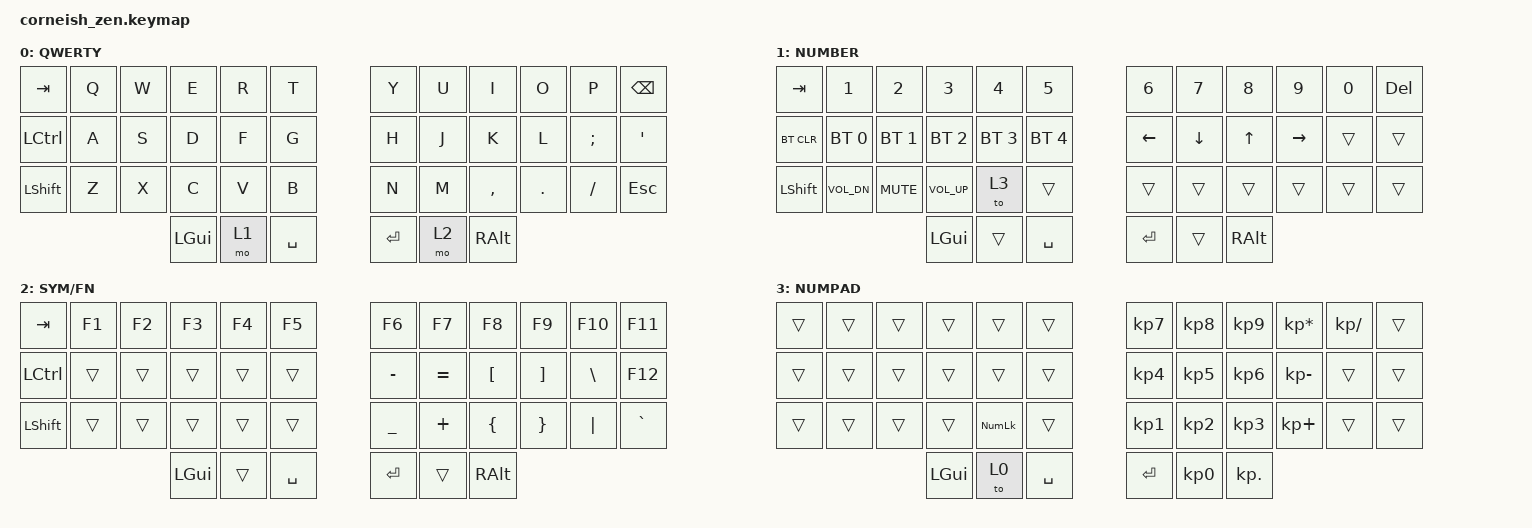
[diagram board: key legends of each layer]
/*
*
* Copyright (c) 2021 Darryl deHaan
* SPDX-License-Identifier: MIT
*
*/

#include <behaviors.dtsi>
#include <dt-bindings/zmk/keys.h>
#include <dt-bindings/zmk/bt.h>

/ {
    chosen {
        zmk,physical-layout = &foostan_corne_6col_layout;
        // zmk,physical-layout = &foostan_corne_5col_layout;
    };
};

/ {
    keymap {
        compatible = "zmk,keymap";

        default_layer {
            display-name = "QWERTY";
// --------------------------------------------------------------------------------
// |  TAB |  Q  |  W  |  E  |  R  |  T  |   |  Y  |  U   |  I  |  O  |  P  | BSPC |
// | CTRL |  A  |  S  |  D  |  F  |  G  |   |  H  |  J   |  K  |  L  |  ;  |  '   |
// | SHFT |  Z  |  X  |  C  |  V  |  B  |   |  N  |  M   |  ,  |  .  |  /  | ESC  |
//                    | GUI | LWR | SPC |   | ENT | RSE  | ALT |
            bindings = <
&kp TAB   &kp Q &kp W &kp E &kp R &kp T   &kp Y &kp U  &kp I     &kp O   &kp P    &kp BSPC
&kp LCTRL &kp A &kp S &kp D &kp F &kp G   &kp H &kp J  &kp K     &kp L   &kp SEMI &kp SQT
&kp LSHFT &kp Z &kp X &kp C &kp V &kp B   &kp N &kp M  &kp COMMA &kp DOT &kp FSLH &kp ESC
               &kp LGUI &mo 1 &kp SPACE   &kp RET &mo 2 &kp RALT
            >;
        };

        lower_layer {
            display-name = "NUMBER";
// -----------------------------------------------------------------------------------------
// |  TAB |  1    |  2    |  3    |  4    |  5    |   |  6  |  7  |  8  |  9  |  0  | DEL  |
// | BTCLR| BT1   | BT2   | BT3   | BT4   | BT5   |   | LFT | DWN |  UP | RGT |     |      |
// | SHFT | VOLDN | VOLMT | VOLUP | TO(3) |       |   |     |     |     |     |     |      |
//                        | GUI   |       | SPC   |   | ENT |     | ALT |
            bindings = <
&kp TAB    &kp N1       &kp N2       &kp N3       &kp N4       &kp N5         &kp N6   &kp N7   &kp N8 &kp N9    &kp N0 &kp DEL
&bt BT_CLR &bt BT_SEL 0 &bt BT_SEL 1 &bt BT_SEL 2 &bt BT_SEL 3 &bt BT_SEL 4   &kp LEFT &kp DOWN &kp UP &kp RIGHT &trans &trans
&kp LSHFT  &kp C_VOL_DN &kp C_MUTE   &kp C_VOL_UP &to 3        &trans          &trans   &trans   &trans &trans    &trans &trans
                                     &kp LGUI     &trans       &kp SPACE      &kp RET  &trans   &kp RALT
            >;
        };

        raise_layer {
            display-name = "SYM/FN";
// -----------------------------------------------------------------------------------------
// |  TAB |  F1  |  F2  |  F3  |  F4  |  F5  |    |  F6  |  F7  |  F8  |  F9  |  F10 | F11   |
// | CTRL |      |      |      |      |      |    |   -  |  =   |   [  |  ]   |  \   |  F12  |
// | SHFT |      |      |      |      |      |    |  _   |  +   |  {   |  }   | "|"  |  `    |
//                      | GUI  |      | SPC  |    | ENT  |      | ALT  |
            bindings = <
&kp  TAB  &kp F1 &kp F2 &kp F3 &kp F4 &kp F5   &kp F6 &kp F7  &kp F8 &kp F9 &kp F10 &kp F11
&kp LCTRL &trans   &trans &trans   &trans   &trans      &kp MINUS &kp EQUAL &kp LBKT  &kp RBKT &kp BSLH &kp F12
&kp LSHFT &trans   &trans &trans   &trans   &trans      &kp UNDER &kp PLUS  &kp LBRC  &kp RBRC &kp PIPE &kp GRAVE
                          &kp LGUI &trans   &kp SPACE   &kp RET   &trans    &kp RALT
            >;
        };

		numpad_layer {
			display-name = "NUMPAD";
			bindings = <
&trans   &trans   &trans   &trans   &trans       &trans      &kp KP_N7   &kp KP_N8   &kp KP_N9   &kp KP_ASTERISK   &kp KP_DIVIDE   &trans
&trans   &trans   &trans   &trans   &trans       &trans      &kp KP_N4   &kp KP_N5   &kp KP_N6   &kp KP_MINUS      &trans          &trans
&trans   &trans   &trans   &trans   &kp KP_NUM   &trans      &kp KP_N1   &kp KP_N2   &kp KP_N3   &kp KP_PLUS       &trans          &trans
                           &kp LGUI &to 0        &kp SPACE   &kp RET   &kp KP_N0    &kp KP_DOT
			>;
		};
    };
};
